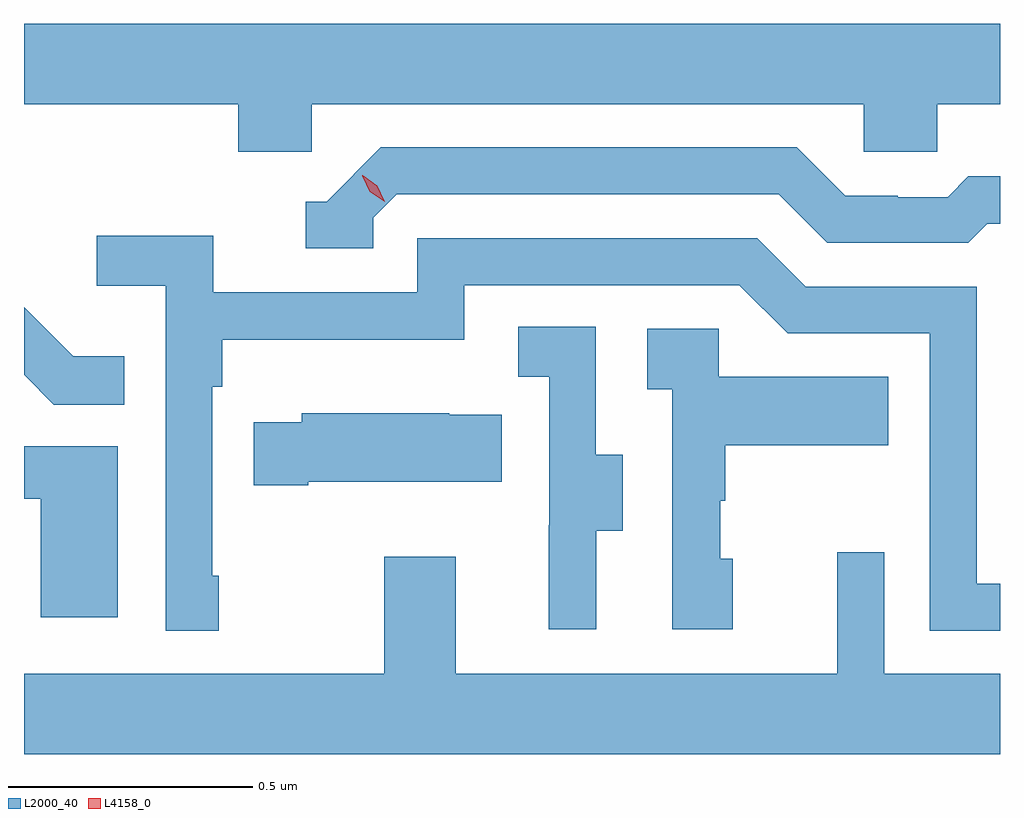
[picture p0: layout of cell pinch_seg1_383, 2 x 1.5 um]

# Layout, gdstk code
import gdstk
lib = gdstk.Library(unit=1e-6, precision=1e-09)
def P(c, l, *ps):  # polygons
    for p in ps: c.add(gdstk.Polygon(p, *l))
L2000_40 = (2000, 40)
L4158_0 = (4158, 0)

pinch_seg1_383 = lib.new_cell('pinch_seg1_383')
P(pinch_seg1_383, L2000_40, [(971.76,525.092),(972.891,525.092),(972.891,524.994),(973.041,524.994),(973.041,525.092),(973.17,525.092),(973.17,525.256),(971.17,525.256),(971.17,525.092),(971.609,525.092),(971.609,524.994),(971.76,524.994)],
  [(971.886,524.859),(971.934,524.907),(972.717,524.907),(972.816,524.808),(973.105,524.808),(973.144,524.847),(973.17,524.847),(973.17,524.944),(973.105,524.944),(973.063,524.901),(972.96,524.901),(972.96,524.904),(972.853,524.904),(972.754,525.003),(971.901,525.003),(971.79,524.892),(971.747,524.892),(971.747,524.796),(971.886,524.796)],
  [(971.569,524.125),(971.556,524.125),(971.556,524.513),(971.576,524.513),(971.576,524.609),(972.072,524.609),(972.072,524.721),(972.636,524.721),(972.735,524.622),(973.026,524.622),(973.026,524.013),(973.17,524.013),(973.17,524.109),(973.122,524.109),(973.122,524.718),(972.772,524.718),(972.673,524.817),(971.976,524.817),(971.976,524.706),(971.558,524.706),(971.558,524.822),(971.319,524.822),(971.319,524.72),(971.46,524.72),(971.46,524.013),(971.569,524.013)],
  [(971.375,524.575),(971.271,524.575),(971.17,524.676),(971.17,524.537),(971.231,524.476),(971.375,524.476)],
  [(972.343,524.218),(972.397,524.218),(972.397,524.373),(972.342,524.373),(972.342,524.636),(972.183,524.636),(972.183,524.533),(972.246,524.533),(972.246,524.229),(972.245,524.229),(972.245,524.016),(972.343,524.016)],
  [(972.622,524.16),(972.597,524.16),(972.597,524.279),(972.607,524.279),(972.607,524.393),(972.941,524.393),(972.941,524.533),(972.594,524.533),(972.594,524.631),(972.447,524.631),(972.447,524.507),(972.498,524.507),(972.498,524.016),(972.622,524.016)],
  [(971.752,524.318),(972.149,524.318),(972.149,524.455),(972.041,524.455),(972.041,524.458),(971.739,524.458),(971.739,524.44),(971.641,524.44),(971.641,524.311),(971.752,524.311)],
  [(971.362,524.391),(971.17,524.391),(971.17,524.283),(971.204,524.283),(971.204,524.04),(971.362,524.04)],
  [(973.17,523.924),(972.933,523.924),(972.933,524.173),(972.836,524.173),(972.836,523.924),(972.055,523.924),(972.055,524.164),(971.908,524.164),(971.908,523.924),(971.17,523.924),(971.17,523.76),(973.17,523.76)])
P(pinch_seg1_383, L4158_0, [(971.909,524.892),(971.879,524.912),(971.863,524.945),(971.863,524.946),(971.864,524.946),(971.894,524.925),(971.909,524.892),(971.909,524.892)])

lib.write_gds('pinch_seg1_383.gds')
